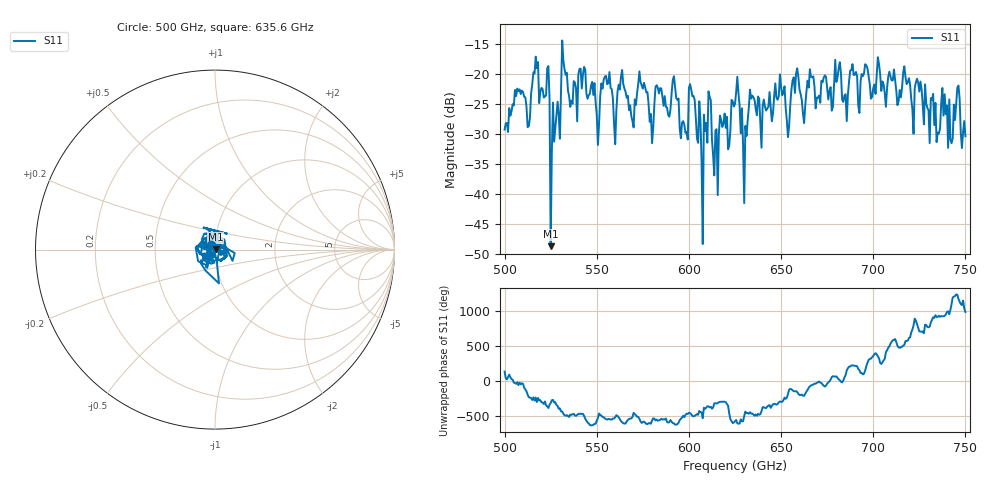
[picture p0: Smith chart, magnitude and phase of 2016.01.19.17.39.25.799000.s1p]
!Created with skrf (http://scikit-rf.org).
# GHz S RI R 50.0
!freq ReS11 ImS11
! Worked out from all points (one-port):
!   401 points, 500 GHz to 750 GHz, reference 50 ohm
!   lowest |S11| = -48.7 dB at 525 GHz (marker M1), VSWR 1.01, Z = 50.3 + j0.234 ohm
!   |S11| at or under -10 dB: start of sweep to end of sweep
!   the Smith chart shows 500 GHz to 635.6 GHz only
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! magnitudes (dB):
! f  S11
! 500 GHz  -29.3
! 506.9 GHz  -22.5
! 513.1 GHz  -28.7
! 516.9 GHz  -17.2
! 523.1 GHz  -19.1
! 525 GHz  -48.7
! 526.2 GHz  -24.8
! 531.2 GHz  -14.4
! 550.6 GHz  -31.9
! 562.5 GHz  -22.6
! 568.8 GHz  -27.1
! 573.8 GHz  -21.4
! 579.4 GHz  -26.7
! 583.1 GHz  -22.3
! 593.8 GHz  -24.3
! 598.1 GHz  -29.8
! 601.9 GHz  -23.7
! 606.2 GHz  -27.7
! 610.6 GHz  -22.9
! 614.4 GHz  -29.4
! 625 GHz  -25.0
! 630.6 GHz  -28.7
! 634.4 GHz  -23.6
! 653.8 GHz  -30.5
! 656.2 GHz  -21.1
! 687.5 GHz  -19.5
! 718.8 GHz  -21.4
! 750 GHz  -30.4
